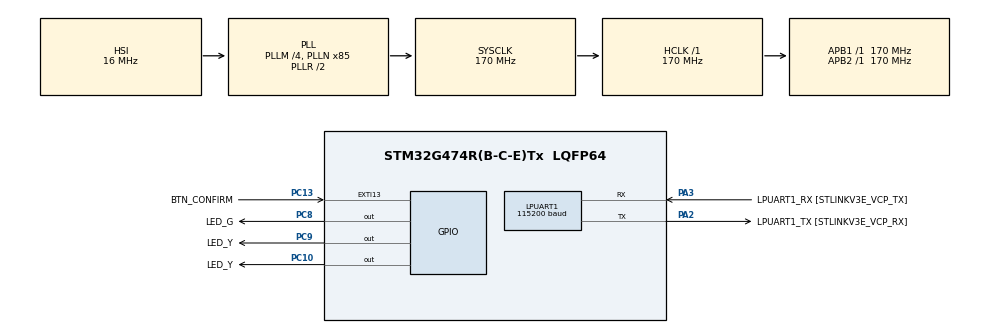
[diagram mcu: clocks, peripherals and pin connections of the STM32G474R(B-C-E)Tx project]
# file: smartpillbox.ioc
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LPUART1.BaudRate=115200
Mcu.Family=STM32G4
Mcu.Name=STM32G474R(B-C-E)Tx
Mcu.Package=LQFP64
NVIC.EXTI15_10_IRQn=true\:0\:0\:false\:false\:true\:true\:true\:true
NVIC.LPUART1_IRQn=true\:0\:0\:false\:false\:true\:true\:true\:true
NVIC.PriorityGroup=NVIC_PRIORITYGROUP_4
NVIC.TIM2_IRQn=true\:0\:0\:false\:false\:true\:true\:true\:true
PA13.GPIO_Label=T_SWDIO
PA13.Signal=SYS_JTMS-SWDIO
PA14.GPIO_Label=T_SWCLK
PA14.Signal=SYS_JTCK-SWCLK
PA2.GPIO_Label=LPUART1_TX [STLINKV3E_VCP_RX]
PA2.Mode=Asynchronous
PA2.Signal=LPUART1_TX
PA3.GPIO_Label=LPUART1_RX [STLINKV3E_VCP_TX]
PA3.Mode=Asynchronous
PA3.Signal=LPUART1_RX
PB3.GPIO_Label=T_SWO
PB3.Signal=SYS_JTDO-SWO
PC10.GPIO_Label=LED_Y
PC10.Signal=GPIO_Output
PC13.GPIO_Label=BTN_CONFIRM
PC13.Signal=GPXTI13
PC14-OSC32_IN.GPIO_Label=RCC_OSC32_IN
PC14-OSC32_IN.Signal=RCC_OSC32_IN
PC15-OSC32_OUT.GPIO_Label=RCC_OSC32_OUT
PC15-OSC32_OUT.Signal=RCC_OSC32_OUT
PC8.GPIO_Label=LED_G
PC8.Signal=GPIO_Output
PC9.GPIO_Label=LED_Y
PC9.Signal=GPIO_Output
PF0-OSC_IN.GPIO_Label=RCC_OSC_IN
PF0-OSC_IN.Signal=RCC_OSC_IN
PF1-OSC_OUT.GPIO_Label=RCC_OSC_OUT
PF1-OSC_OUT.Signal=RCC_OSC_OUT
ProjectManager.HeapSize=0x200
ProjectManager.StackSize=0x400
ProjectManager.TargetToolchain=STM32CubeIDE
RCC.ADC12Freq_Value=170000000
RCC.ADC345Freq_Value=170000000
RCC.AHBFreq_Value=170000000
RCC.APB1Freq_Value=170000000
RCC.APB1TimFreq_Value=170000000
RCC.APB2Freq_Value=170000000
RCC.APB2TimFreq_Value=170000000
RCC.CortexFreq_Value=170000000
RCC.EXTERNAL_CLOCK_VALUE=12288000
RCC.HCLKFreq_Value=170000000
RCC.HSE_VALUE=24000000
RCC.HSI48_VALUE=48000000
RCC.HSI_VALUE=16000000
RCC.LSE_VALUE=32768
RCC.PLLM=RCC_PLLM_DIV4
RCC.PLLN=85
RCC.RTCClockSelection=RCC_RTCCLKSOURCE_LSE
RCC.SYSCLKFreq_VALUE=170000000
RCC.SYSCLKSource=RCC_SYSCLKSOURCE_PLLCLK
RCC.USBFreq_Value=170000000
RCC.VCOOutputFreq_Value=340000000
TIM2.PeriodNoDither=999
TIM2.Prescaler=169
VP_SYS_VS_DBSignals.Mode=DisableDeadBatterySignals
VP_TIM2_VS_ClockSourceINT.Mode=Internal
board=NUCLEO-G474RE

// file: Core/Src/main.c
/* USER CODE BEGIN Header */
/**
  ******************************************************************************
  * @file           : main.c
  * @brief          : Main program body
  ******************************************************************************
  * @attention
  *
  * Copyright (c) 2026 STMicroelectronics.
  * All rights reserved.
  *
  * This software is licensed under terms that can be found in the LICENSE file
  * in the root directory of this software component.
  * If no LICENSE file comes with this software, it is provided AS-IS.
  *
  ******************************************************************************
  */
/* USER CODE END Header */
#include "main.h"
#include "usart.h"
#include "tim.h"
#include "gpio.h"

/* USER CODE BEGIN Includes */
#include <stdio.h>
#include <string.h>
/* USER CODE END Includes */

/* USER CODE BEGIN PV */
typedef enum
{
    WAITING = 0,
    REMINDING,
    CONFIRMED,
    OVERDUE,
    MISSED
} PillState;

typedef enum
{
    NOT_TAKEN = 0,
    TAKEN_ON_TIME,
    TAKEN_LATE,
    MISSED_DOSE
} PillResult;

volatile uint32_t system_ms = 0;

volatile uint8_t button_event = 0;
volatile uint32_t last_button_ms = 0;

PillState state = WAITING;

PillResult breakfast_result = NOT_TAKEN;
PillResult dinner_result = NOT_TAKEN;

uint8_t current_meal = 0;
uint8_t day_completed = 0;
/* USER CODE END PV */

void SystemClock_Config(void);

/* USER CODE BEGIN 0 */
#define BREAKFAST_TIME_MS   15000U
#define BREAKFAST_LATE_MS   25000U
#define BREAKFAST_END_MS    30000U

#define DINNER_TIME_MS      40000U
#define DINNER_LATE_MS      50000U
#define DINNER_END_MS       55000U

#define DAY_END_MS          60000U

#define LED_GREEN_PIN       GPIO_PIN_8
#define LED_YELLOW_PIN      GPIO_PIN_9
#define LED_RED_PIN         GPIO_PIN_10

#define LED_PORT            GPIOC

static void UART_Print(const char *text)
{
    HAL_UART_Transmit(
        &hlpuart1,
        (uint8_t *)text,
        (uint16_t)strlen(text),
        100
    );
}

static void LED_Set(
    GPIO_PinState green,
    GPIO_PinState yellow,
    GPIO_PinState red
)
{
    HAL_GPIO_WritePin(LED_PORT, LED_GREEN_PIN, green);
    HAL_GPIO_WritePin(LED_PORT, LED_YELLOW_PIN, yellow);
    HAL_GPIO_WritePin(LED_PORT, LED_RED_PIN, red);
}

static const char *Result_Text(PillResult result)
{
    switch (result)
    {
        case TAKEN_ON_TIME:
            return "ON TIME";

        case TAKEN_LATE:
            return "LATE";

        case MISSED_DOSE:
            return "MISSED";

        default:
            return "NOT TAKEN";
    }
}

static void Start_Reminder(uint8_t meal)
{
    current_meal = meal;
    state = REMINDING;

    LED_Set(GPIO_PIN_RESET,
            GPIO_PIN_SET,
            GPIO_PIN_RESET);

    if (meal == 1)
    {
        UART_Print("\r\n[BREAKFAST] REMINDER\r\n");
    }
    else
    {
        UART_Print("\r\n[DINNER] REMINDER\r\n");
    }
}

static void Set_Overdue(void)
{
    state = OVERDUE;

    LED_Set(GPIO_PIN_RESET,
            GPIO_PIN_RESET,
            GPIO_PIN_SET);

    UART_Print("[WARNING] OVERDUE\r\n");
}

static void Confirm_Medicine(void)
{
    PillResult result;

    if (state != REMINDING && state != OVERDUE)
    {
        return;
    }

    if (state == REMINDING)
    {
        result = TAKEN_ON_TIME;
    }
    else
    {
        result = TAKEN_LATE;
    }

    if (current_meal == 1)
    {
        breakfast_result = result;
    }
    else if (current_meal == 2)
    {
        dinner_result = result;
    }

    state = CONFIRMED;

    LED_Set(GPIO_PIN_SET,
            GPIO_PIN_RESET,
            GPIO_PIN_RESET);

    UART_Print("[CONFIRMED] MEDICINE TAKEN\r\n");
}

static void Mark_Missed(void)
{
    if (state == REMINDING || state == OVERDUE)
    {
        state = MISSED;

        if (current_meal == 1)
        {
            breakfast_result = MISSED_DOSE;
            UART_Print("[BREAKFAST] MISSED\r\n");
        }
        else if (current_meal == 2)
        {
            dinner_result = MISSED_DOSE;
            UART_Print("[DINNER] MISSED\r\n");
        }
    }

    LED_Set(GPIO_PIN_RESET,
            GPIO_PIN_RESET,
            GPIO_PIN_RESET);
}

static void Print_Daily_Report(void)
{
    char buffer[100];

    UART_Print("\r\n===== DAILY REPORT =====\r\n");

    snprintf(buffer, sizeof(buffer),
             "BREAKFAST: %s\r\n",
             Result_Text(breakfast_result));
    UART_Print(buffer);

    snprintf(buffer, sizeof(buffer),
             "DINNER: %s\r\n",
             Result_Text(dinner_result));
    UART_Print(buffer);

    UART_Print("===== DAY COMPLETED =====\r\n");
}

static void Pillbox_Update(uint32_t now)
{
    static uint8_t breakfast_started = 0;
    static uint8_t breakfast_finished = 0;
    static uint8_t dinner_started = 0;
    static uint8_t dinner_finished = 0;

    if (!breakfast_started && now >= BREAKFAST_TIME_MS)
    {
        breakfast_started = 1;
        Start_Reminder(1);
    }

    if (breakfast_started &&
        !breakfast_finished &&
        now >= BREAKFAST_LATE_MS &&
        state == REMINDING &&
        current_meal == 1)
    {
        Set_Overdue();
    }

    if (breakfast_started &&
        !breakfast_finished &&
        now >= BREAKFAST_END_MS)
    {
        breakfast_finished = 1;

        if (current_meal == 1)
        {
            Mark_Missed();
        }

        state = WAITING;
    }

    if (!dinner_started && now >= DINNER_TIME_MS)
    {
        dinner_started = 1;
        Start_Reminder(2);
    }

    if (dinner_started &&
        !dinner_finished &&
        now >= DINNER_LATE_MS &&
        state == REMINDING &&
        current_meal == 2)
    {
        Set_Overdue();
    }

    if (dinner_started &&
        !dinner_finished &&
        now >= DINNER_END_MS)
    {
        dinner_finished = 1;

        if (current_meal == 2)
        {
            Mark_Missed();
        }

        state = WAITING;
    }

    if (!day_completed && now >= DAY_END_MS)
    {
        day_completed = 1;

        LED_Set(GPIO_PIN_RESET,
                GPIO_PIN_RESET,
                GPIO_PIN_RESET);

        Print_Daily_Report();
    }
}
/* USER CODE END 0 */

int main(void)
{

  /* MCU Configuration--------------------------------------------------------*/

  /* Reset of all peripherals, Initializes the Flash interface and the Systick. */
  HAL_Init();

  /* Configure the system clock */
  SystemClock_Config();

  /* Initialize all configured peripherals */
  MX_GPIO_Init();
  MX_LPUART1_UART_Init();
  MX_TIM2_Init();
  /* USER CODE BEGIN 2 */
  LED_Set(GPIO_PIN_RESET,
          GPIO_PIN_RESET,
          GPIO_PIN_RESET);

  HAL_TIM_Base_Start_IT(&htim2);

  UART_Print("\r\n========================\r\n");
  UART_Print("SMART PILLBOX SYSTEM\r\n");
  UART_Print("SYSTEM STARTED\r\n");
  UART_Print("WAITING FOR BREAKFAST...\r\n");
  UART_Print("========================\r\n");
  /* USER CODE END 2 */

  /* Infinite loop */
  while (1)
  {

    /* USER CODE BEGIN 3 */
	  uint32_t now = system_ms;

	  if (!day_completed)
	  {
	      Pillbox_Update(now);
	  }

	  if (button_event)
	  {
	      button_event = 0;

	      now = system_ms;

	      if (!day_completed &&
	          ((current_meal == 1 && now < BREAKFAST_END_MS) ||
	           (current_meal == 2 && now < DINNER_END_MS)))
	      {
	          Confirm_Medicine();
	      }
	  }
  }
  /* USER CODE END 3 */
}

void SystemClock_Config(void)
{
  RCC_OscInitTypeDef RCC_OscInitStruct = {0};
  RCC_ClkInitTypeDef RCC_ClkInitStruct = {0};

  /** Configure the main internal regulator output voltage
  */
  HAL_PWREx_ControlVoltageScaling(PWR_REGULATOR_VOLTAGE_SCALE1_BOOST);

  /** Initializes the RCC Oscillators according to the specified parameters
  * in the RCC_OscInitTypeDef structure.
  */
  RCC_OscInitStruct.OscillatorType = RCC_OSCILLATORTYPE_HSI;
  RCC_OscInitStruct.HSIState = RCC_HSI_ON;
  RCC_OscInitStruct.HSICalibrationValue = RCC_HSICALIBRATION_DEFAULT;
  RCC_OscInitStruct.PLL.PLLState = RCC_PLL_ON;
  RCC_OscInitStruct.PLL.PLLSource = RCC_PLLSOURCE_HSI;
  RCC_OscInitStruct.PLL.PLLM = RCC_PLLM_DIV4;
  RCC_OscInitStruct.PLL.PLLN = 85;
  RCC_OscInitStruct.PLL.PLLP = RCC_PLLP_DIV2;
  RCC_OscInitStruct.PLL.PLLQ = RCC_PLLQ_DIV2;
  RCC_OscInitStruct.PLL.PLLR = RCC_PLLR_DIV2;
  if (HAL_RCC_OscConfig(&RCC_OscInitStruct) != HAL_OK)
  {
    Error_Handler();
  }

  /** Initializes the CPU, AHB and APB buses clocks
  */
  RCC_ClkInitStruct.ClockType = RCC_CLOCKTYPE_HCLK|RCC_CLOCKTYPE_SYSCLK
                              |RCC_CLOCKTYPE_PCLK1|RCC_CLOCKTYPE_PCLK2;
  RCC_ClkInitStruct.SYSCLKSource = RCC_SYSCLKSOURCE_PLLCLK;
  RCC_ClkInitStruct.AHBCLKDivider = RCC_SYSCLK_DIV1;
  RCC_ClkInitStruct.APB1CLKDivider = RCC_HCLK_DIV1;
  RCC_ClkInitStruct.APB2CLKDivider = RCC_HCLK_DIV1;

  if (HAL_RCC_ClockConfig(&RCC_ClkInitStruct, FLASH_LATENCY_4) != HAL_OK)
  {
    Error_Handler();
  }
}

/* USER CODE BEGIN 4 */
void HAL_TIM_PeriodElapsedCallback(TIM_HandleTypeDef *htim)
{
    if (htim->Instance == TIM2)
    {
        system_ms++;
    }
}

void HAL_GPIO_EXTI_Callback(uint16_t GPIO_Pin)
{
    if (GPIO_Pin == GPIO_PIN_13)
    {
        uint32_t now = system_ms;

        if ((uint32_t)(now - last_button_ms) >= 200U)
        {
            last_button_ms = now;
            button_event = 1;
        }
    }
}
/* USER CODE END 4 */

void Error_Handler(void)
{
  __disable_irq();
  while (1)
  {
  }
}
